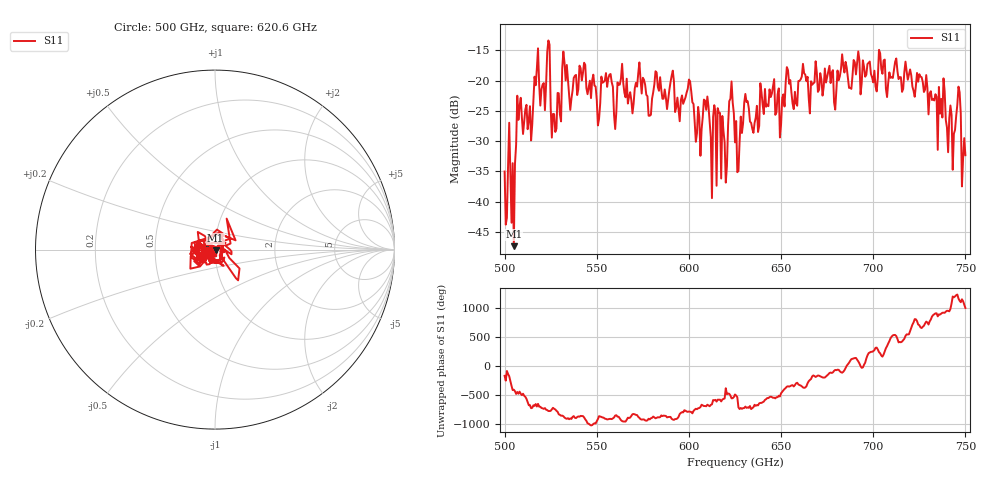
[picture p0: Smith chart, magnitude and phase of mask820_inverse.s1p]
!Created with skrf (http://scikit-rf.org).
# GHz S MA R 50.0
!freq magS11 angS11
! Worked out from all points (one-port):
!   401 points, 500 GHz to 750 GHz, reference 50 ohm
!   lowest |S11| = -47.3 dB at 505 GHz (marker M1), VSWR 1.01, Z = 50.3 - j0.319 ohm
!   |S11| at or under -10 dB: start of sweep to end of sweep
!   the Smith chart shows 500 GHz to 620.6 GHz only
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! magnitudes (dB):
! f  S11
! 500 GHz  -35.0
! 505 GHz  -47.3
! 508.1 GHz  -24.2
! 513.8 GHz  -24.2
! 516.9 GHz  -20.8
! 520.6 GHz  -20.7
! 523.8 GHz  -13.4
! 526.9 GHz  -25.5
! 531.2 GHz  -18.0
! 542.5 GHz  -18.8
! 550.6 GHz  -27.4
! 562.5 GHz  -20.7
! 573.8 GHz  -19.8
! 578.8 GHz  -25.8
! 590.6 GHz  -19.2
! 593.8 GHz  -22.8
! 600 GHz  -19.8
! 605 GHz  -24.4
! 609.4 GHz  -24.8
! 618.8 GHz  -28.4
! 623.1 GHz  -20.1
! 625 GHz  -30.2
! 656.2 GHz  -23.8
! 687.5 GHz  -21.2
! 718.8 GHz  -19.9
! 741.9 GHz  -24.1
! 746.2 GHz  -21.0
! 750 GHz  -32.3
